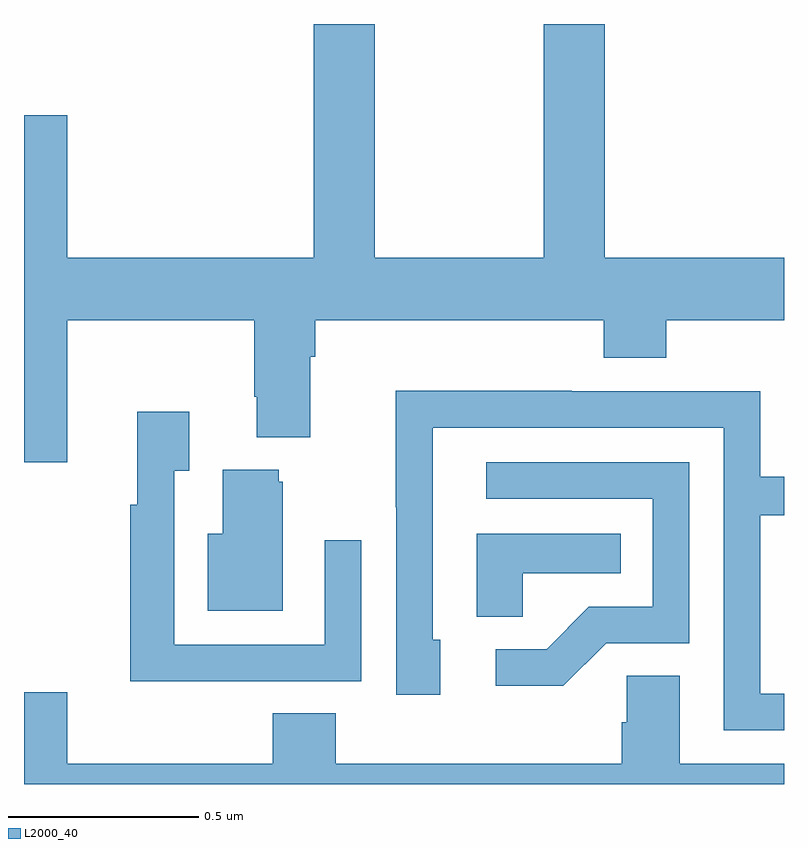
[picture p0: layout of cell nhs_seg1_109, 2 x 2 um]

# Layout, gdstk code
import gdstk
lib = gdstk.Library(unit=1e-6, precision=1e-09)
def P(c, l, *ps):  # polygons
    for p in ps: c.add(gdstk.Polygon(p, *l))
L2000_40 = (2000, 40)

nhs_seg1_109 = lib.new_cell('nhs_seg1_109')
P(nhs_seg1_109, L2000_40, [(112.114,530.42),(112.606,530.42),(112.606,530.218),(112.613,530.218),(112.613,530.111),(112.753,530.111),(112.753,530.324),(112.766,530.324),(112.766,530.42),(113.525,530.42),(113.525,530.321),(113.69,530.321),(113.69,530.42),(114,530.42),(114,530.584),(113.528,530.584),(113.528,531.199),(113.368,531.199),(113.368,530.584),(112.923,530.584),(112.923,531.199),(112.763,531.199),(112.763,530.584),(112.114,530.584),(112.114,530.959),(112,530.959),(112,530.046),(112.114,530.046)],
  [(114,529.437),(113.937,529.437),(113.937,529.906),(114,529.906),(114,530.007),(113.937,530.007),(113.937,530.232),(113.441,530.232),(113.441,530.234),(112.978,530.234),(112.978,529.927),(112.98,529.927),(112.98,529.434),(113.095,529.434),(113.095,529.578),(113.076,529.578),(113.076,530.136),(113.841,530.136),(113.841,529.341),(114,529.341)],
  [(112.571,529.47),(112.887,529.47),(112.887,529.84),(112.791,529.84),(112.791,529.566),(112.395,529.566),(112.395,530.023),(112.435,530.023),(112.435,530.179),(112.298,530.179),(112.298,529.934),(112.279,529.934),(112.279,529.469),(112.571,529.469)],
  [(113.532,529.569),(113.751,529.569),(113.751,530.046),(113.217,530.046),(113.217,529.95),(113.655,529.95),(113.655,529.665),(113.486,529.665),(113.375,529.554),(113.241,529.554),(113.241,529.457),(113.419,529.457)],
  [(112.681,529.995),(112.67,529.995),(112.67,530.026),(112.523,530.026),(112.523,529.858),(112.484,529.858),(112.484,529.655),(112.681,529.655)],
  [(113.313,529.754),(113.57,529.754),(113.57,529.858),(113.192,529.858),(113.192,529.639),(113.313,529.639)],
  [(114,529.252),(113.725,529.252),(113.725,529.484),(113.586,529.484),(113.586,529.361),(113.573,529.361),(113.573,529.252),(112.82,529.252),(112.82,529.385),(112.655,529.385),(112.655,529.252),(112.114,529.252),(112.114,529.441),(112,529.441),(112,529.199),(114,529.199)])

lib.write_gds('nhs_seg1_109.gds')
